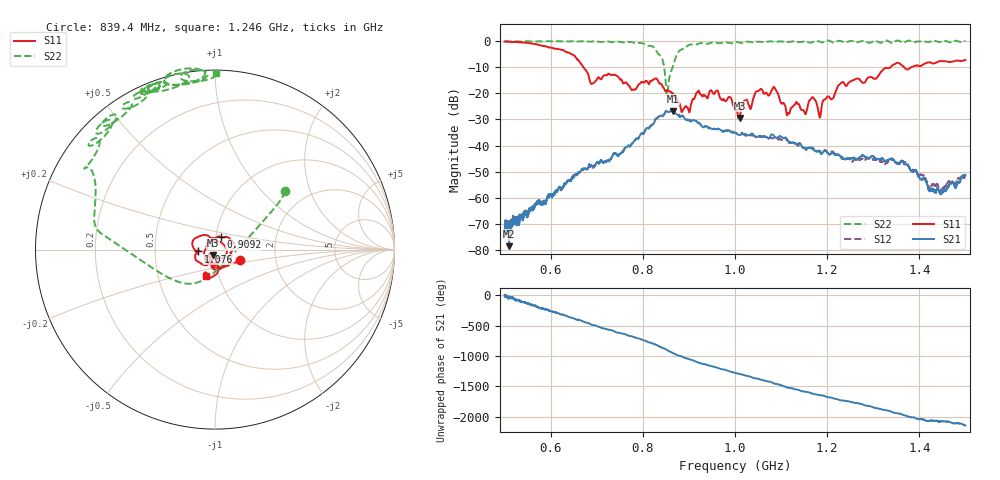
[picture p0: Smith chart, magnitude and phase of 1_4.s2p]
!Agilent Technologies,E8364B,US42250235,A.06.04.32
!Agilent E8364B: A.06.04.32
!Date: Thursday, October 01, 2020 16:02:21
!Correction: S11(Full 2 Port(1,2)) S21(Full 2 Port(1,2)) S12(Full 2 Port(1,2)) S22(Full 2 Port(1,2))
!S2P File: Measurements: S11, S21, S12, S22:
# Hz S  dB  R 50
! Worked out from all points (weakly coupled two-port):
!   2650 points, 500 MHz to 1.5 GHz, reference 50 ohm
!   highest |S21| = -26.78 dB at 865 MHz (marker M1); lowest = -78.5 dB at 509.8 MHz (marker M2)
!   lowest |S11| = -29.5 dB at 1.01 GHz (marker M3), VSWR 1.07, Z = 48.6 - j3 ohm
!   |S11| at or under -10 dB: 670.8 MHz to 1.338 GHz (666.8 MHz wide, 66.4 % of centre); 1.367 GHz to 1.383 GHz (15.95 MHz wide, 1.16 % of centre)
!   |S22| runs from -21.0 to 0.2 dB; largest |S21 - S12| = 0.0036
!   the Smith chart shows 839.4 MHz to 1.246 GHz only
!   S11 on the Smith chart (normalised r, x): 839.4 MHz: 1.32, -0.15; 909.2 MHz: 1.05, +0.15; 1.076 GHz: 0.83, -0.02; 1.246 GHz: 0.86, -0.27
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5e8  -0.25 -175.1  -74.77 -0.6  -72.81 -0.3  -0.05 143.3
5.09815e8  -0.30 179.7  -78.52 -28.6  -69.49 -24.0  -0.21 142.7
5.917327e8  -2.20 126.5  -60.43 129.1  -60.69 126.2  -0.12 127.5
6.668554e8  -9.05 59.1  -49.12 -58.7  -49.20 -70.8  -0.13 124.3
6.89883e8  -16.38 71.6  -47.84 -124.2  -48.57 -132.4  -0.21 120.3
7.952057e8  -16.02 57.0  -35.67 -1.2  -35.79 -6.9  -0.70 98.0
8.337108e8  -15.60 -13.0  -29.16 -113.6  -29.05 -117.3  -4.92 53.6
8.393733e8  -16.36 -21.7  -28.56 -135.7  -28.41 -138.5  -5.90 40.0
8.529634e8  -19.01 -44.2  -27.00 176.8  -26.70 173.5  -20.65 -60.6
8.650434e8  -19.99 -84.5  -26.78 131.8  -26.65 128.2  -9.81 -154.8
9.09211e8  -22.14 66.4  -30.29 8.2  -30.56 3.1  -1.39 147.4
9.601737e8  -18.97 -78.9  -33.77 -108.6  -33.69 -110.3  -0.75 135.3
1.000189e9  -26.65 -135.8  -35.18 163.5  -35.21 161.1  -0.45 119.9
1.010004e9  -29.48 -113.3  -35.92 146.1  -35.24 142.2  -0.63 122.5
1.075689e9  -20.38 -173.9  -36.90 20.4  -37.13 8.3  -0.13 111.1
1.115327e9  -27.53 76.7  -38.35 -81.4  -38.37 -79.9  -0.41 109.8
1.166667e9  -21.67 -83.2  -40.91 -172.1  -41.25 -175.4  -0.55 101.4
1.184032e9  -29.31 -96.2  -42.49 154.6  -42.21 156.6  -0.28 106.9
1.246319e9  -16.01 -109.0  -45.11 54.9  -44.87 46.8  -0.15 89.7
1.333522e9  -10.38 -144.9  -45.41 -99.9  -46.09 -101.0  -0.12 97.8
1.431672e9  -8.59 166.5  -56.83 94.8  -54.93 91.2  0.07 76.4
1.5e9  -7.28 142.4  -51.22 18.2  -52.05 11.2  0.10 72.4
